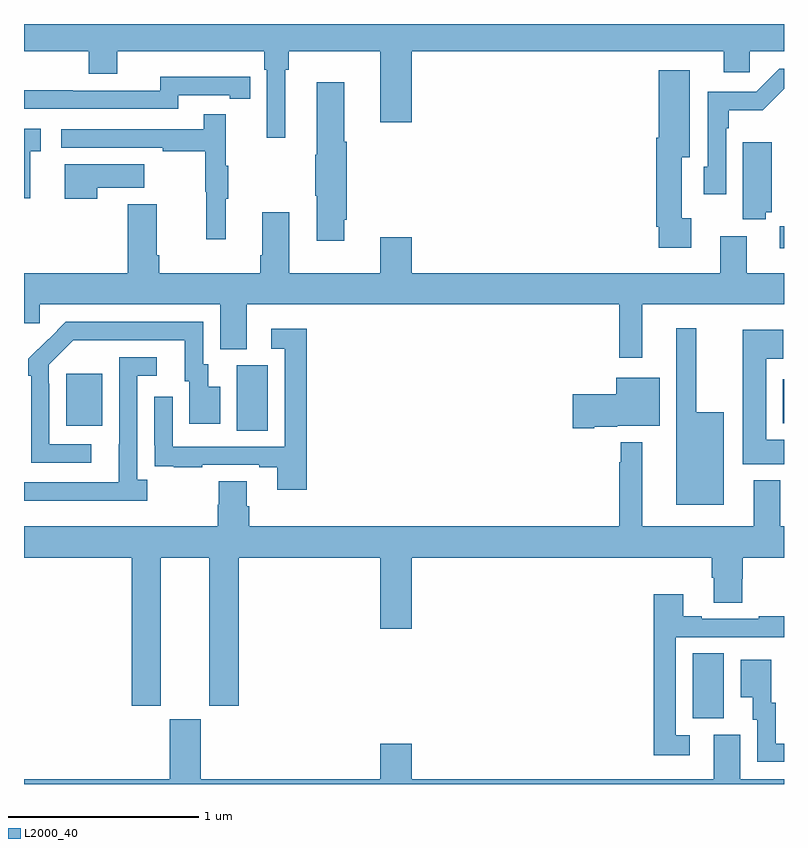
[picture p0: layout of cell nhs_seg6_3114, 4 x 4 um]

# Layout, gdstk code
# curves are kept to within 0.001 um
import gdstk
lib = gdstk.Library(unit=1e-6, precision=1e-09)
def R(c, l, rs):  # rectangles x0, y0, x1, y1
    for r in rs: c.add(gdstk.rectangle(r[:2], r[2:], *l))
def P(c, l, *ps):  # polygons
    for p in ps: c.add(gdstk.Polygon(p, *l))
L2000_40 = (2000, 40)

nhs_seg6_3114 = lib.new_cell('nhs_seg6_3114')
R(nhs_seg6_3114, L2000_40, [(298.52,923.845,298.684,924.188), (296.12,925.36,296.284,925.704), (295.223,925.385,295.411,925.66), (298.994,925.4,299,925.63), (298.977,926.321,299,926.436)])
P(nhs_seg6_3114, L2000_40, [(296.374,927.26),(296.393,927.26),(296.393,927.356),(296.876,927.356),(296.876,926.982),(297.04,926.982),(297.04,927.356),(298.682,927.356),(298.682,927.246),(298.821,927.246),(298.821,927.356),(299,927.356),(299,927.5),(295,927.5),(295,927.356),(295.34,927.356),(295.34,927.239),(295.492,927.239),(295.492,927.356),(296.264,927.356),(296.264,927.26),(296.277,927.26),(296.277,926.901),(296.374,926.901)],
  [(298.695,926.951),(298.708,926.951),(298.708,927.047),(298.889,927.047),(299,927.158),(299,927.264),(298.974,927.264),(298.854,927.144),(298.599,927.144),(298.599,926.748),(298.578,926.748),(298.578,926.604),(298.695,926.604)],
  [(298.513,926.478),(298.462,926.478),(298.462,926.798),(298.504,926.798),(298.504,927.256),(298.34,927.256),(298.34,926.902),(298.328,926.902),(298.328,926.434),(298.34,926.434),(298.34,926.322),(298.513,926.322)],
  [(295.812,927.126),(296.084,927.126),(296.084,927.106),(296.192,927.106),(296.192,927.222),(296.084,927.222),(296.084,927.223),(295.716,927.223),(295.716,927.15),(295.256,927.15),(295.256,927.152),(295,927.152),(295,927.054),(295.812,927.054)],
  [(296.686,926.47),(296.699,926.47),(296.699,926.88),(296.686,926.88),(296.686,927.193),(296.54,927.193),(296.54,926.813),(296.533,926.813),(296.533,926.596),(296.54,926.596),(296.54,926.358),(296.686,926.358)],
  [(296.063,926.579),(296.074,926.579),(296.074,926.753),(296.063,926.753),(296.063,927.025),(295.945,927.025),(295.945,926.946),(295.197,926.946),(295.197,926.85),(295.729,926.85),(295.729,926.83),(295.953,926.83),(295.953,926.616),(295.96,926.616),(295.96,926.367),(296.063,926.367)],
  [(295.034,926.829),(295.087,926.829),(295.087,926.95),(295,926.95),(295,926.583),(295.034,926.583)],
  [(298.904,926.51),(298.936,926.51),(298.936,926.878),(298.784,926.878),(298.784,926.473),(298.904,926.473)],
  [(295.385,926.639),(295.633,926.639),(295.633,926.761),(295.214,926.761),(295.214,926.58),(295.385,926.58)],
  [(295.712,926.284),(295.699,926.284),(295.699,926.551),(295.547,926.551),(295.547,926.188),(295,926.188),(295,925.926),(295.083,925.926),(295.083,926.024),(296.033,926.024),(296.033,925.789),(296.173,925.789),(296.173,926.024),(298.134,926.024),(298.134,925.743),(298.255,925.743),(298.255,926.024),(299,926.024),(299,926.188),(298.804,926.188),(298.804,926.383),(298.664,926.383),(298.664,926.188),(297.04,926.188),(297.04,926.377),(296.876,926.377),(296.876,926.188),(296.395,926.188),(296.395,926.509),(296.255,926.509),(296.255,926.284),(296.243,926.284),(296.243,926.188),(295.712,926.188)],
  [(295.354,925.287),(295.134,925.287),(295.134,925.607),(295.131,925.607),(295.131,925.707),(295.26,925.836),(295.847,925.836),(295.847,925.62),(295.871,925.62),(295.871,925.395),(296.032,925.395),(296.032,925.591),(295.969,925.591),(295.969,925.71),(295.944,925.71),(295.944,925.932),(295.22,925.932),(295.023,925.737),(295.023,925.649),(295.038,925.649),(295.038,925.191),(295.354,925.191)],
  [(298.684,925.456),(298.537,925.456),(298.537,925.9),(298.433,925.9),(298.433,924.971),(298.684,924.971)],
  [(296.489,925.897),(296.301,925.897),(296.301,925.791),(296.373,925.791),(296.373,925.275),(295.782,925.275),(295.782,925.537),(295.686,925.537),(295.686,925.282),(295.687,925.282),(295.687,925.173),(295.789,925.173),(295.789,925.167),(295.937,925.167),(295.937,925.179),(296.237,925.179),(296.237,925.167),(296.333,925.167),(296.333,925.05),(296.489,925.05)],
  [(299,925.312),(298.906,925.312),(298.906,925.739),(298.996,925.739),(298.996,925.891),(298.784,925.891),(298.784,925.184),(299,925.184)],
  [(295.648,925.102),(295.596,925.102),(295.596,925.65),(295.699,925.65),(295.699,925.746),(295.5,925.746),(295.5,925.289),(295.499,925.289),(295.499,925.089),(295,925.089),(295,924.992),(295.648,924.992)],
  [(298,925.379),(298.122,925.379),(298.122,925.385),(298.345,925.385),(298.345,925.639),(298.118,925.639),(298.118,925.551),(297.888,925.551),(297.888,925.373),(298,925.373)],
  [(295.72,924.692),(295.976,924.692),(295.976,923.913),(296.129,923.913),(296.129,924.692),(296.876,924.692),(296.876,924.318),(297.04,924.318),(297.04,924.692),(298.619,924.692),(298.619,924.586),(298.631,924.586),(298.631,924.454),(298.779,924.454),(298.779,924.579),(298.784,924.579),(298.784,924.692),(299,924.692),(299,924.856),(298.981,924.856),(298.981,925.099),(298.841,925.099),(298.841,924.856),(298.255,924.856),(298.255,925.3),(298.141,925.3),(298.141,925.193),(298.134,925.193),(298.134,924.856),(296.186,924.856),(296.186,924.962),(296.173,924.962),(296.173,925.094),(296.026,925.094),(296.026,924.969),(296.021,924.969),(296.021,924.856),(295,924.856),(295,924.692),(295.568,924.692),(295.568,923.913),(295.72,923.913)],
  [(298.504,923.757),(298.431,923.757),(298.431,924.273),(299,924.273),(299,924.382),(298.867,924.382),(298.867,924.369),(298.567,924.369),(298.567,924.382),(298.471,924.382),(298.471,924.499),(298.315,924.499),(298.315,923.652),(298.504,923.652)],
  [(299,923.712),(298.957,923.712),(298.957,923.928),(298.933,923.928),(298.933,924.154),(298.772,924.154),(298.772,923.957),(298.835,923.957),(298.835,923.838),(298.86,923.838),(298.86,923.616),(299,923.616)],
  [(299,923.524),(298.771,923.524),(298.771,923.76),(298.631,923.76),(298.631,923.524),(297.04,923.524),(297.04,923.713),(296.876,923.713),(296.876,923.524),(295.93,923.524),(295.93,923.841),(295.766,923.841),(295.766,923.524),(295,923.524),(295,923.5),(299,923.5)])

lib.write_gds('nhs_seg6_3114.gds')
